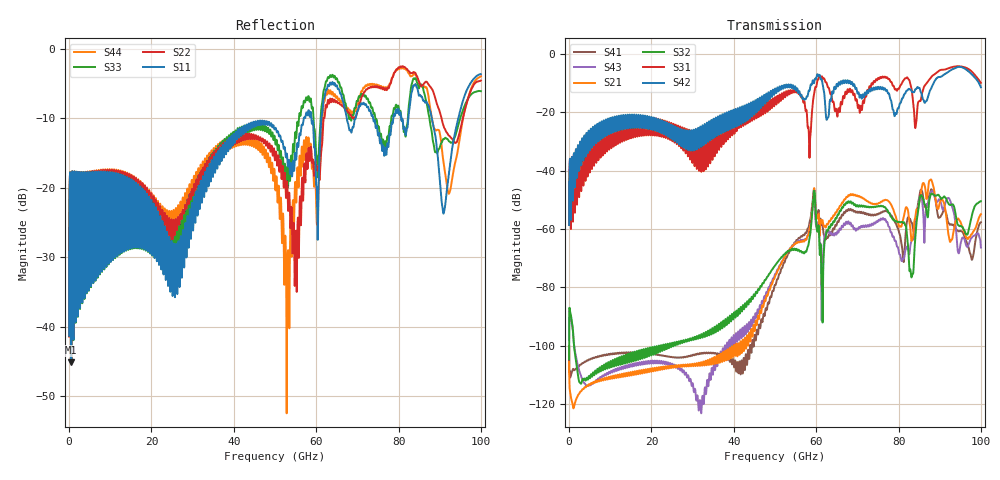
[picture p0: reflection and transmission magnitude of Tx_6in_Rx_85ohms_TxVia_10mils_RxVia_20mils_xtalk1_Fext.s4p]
! Info: Touchstone file created by Circ.  Input file=Tx_6in_Rx_85ohms_TxVia_10mils_RxVia_20mils.circ
# Hz S RI R 50
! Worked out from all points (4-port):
!   10000 points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, 10 MHz to 100 GHz, reference 50 ohm
!   strongest paths, dB at 10 MHz, 25.01 GHz, 50.01 GHz, 75.01 GHz, 100 GHz:
!     S42: -58.6, -27.5, -12.0, -11.3, -11.5
!     S31: -58.7, -27.8, -15.0, -8.3, -9.9
!     S32: -104.8, -99.0, -72.5, -52.3, -50.5
!     S21: -100.9, -106.8, -76.3, -51.3, -54.9
!     S43: -97.9, -106.3, -75.5, -57.3, -66.4
!     S41: -100.1, -103.9, -79.2, -55.0, -57.7
!   lowest |S11| = -45.1 dB at 530 MHz (marker M1), VSWR 1.01, Z = 49.5 - j0.108 ohm
!   |S11| at or under -10 dB: start of sweep to 57 GHz; 73.82 GHz to 78.73 GHz (4.909 GHz wide, 6.44 % of centre); 88.08 GHz to 94.53 GHz (6.449 GHz wide, 7.06 % of centre)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
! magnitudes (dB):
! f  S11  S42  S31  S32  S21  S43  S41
! 10 MHz  -41.3  -58.6  -58.7  -104.8  -100.9  -97.9  -100.1
! 530 MHz  -45.1  -42.9  -43.0  -90.3  -118.3  -91.2  -109.6
! 53.13 GHz  -16.9  -11.1  -13.3  -67.5  -67.8  -67.6  -68.5
! 62.66 GHz  -5.7  -22.3  -10.6  -60.5  -58.3  -60.7  -62.9
! 83.14 GHz  -6.4  -12.7  -11.8  -76.6  -64.0  -64.2  -57.8
! 85.48 GHz  -6.9  -13.2  -15.3  -48.4  -47.1  -48.4  -46.6
! 100 GHz  -3.6  -11.5  -9.9  -50.5  -54.9  -66.4  -57.7
